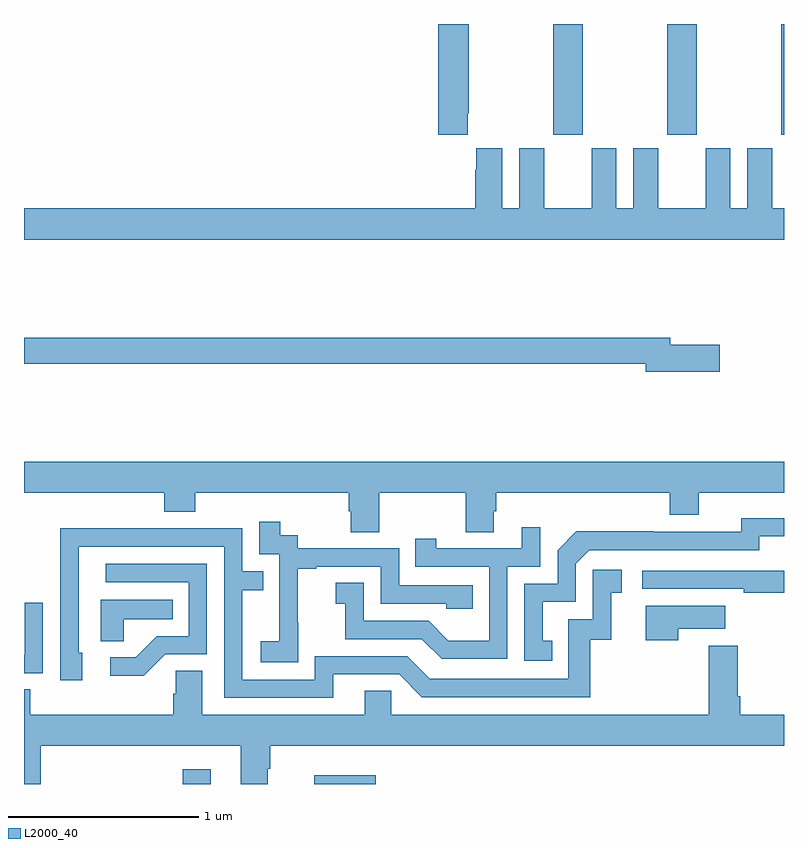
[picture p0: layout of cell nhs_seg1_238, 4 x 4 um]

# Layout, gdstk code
import gdstk
lib = gdstk.Library(unit=1e-6, precision=1e-09)
def R(c, l, rs):  # rectangles x0, y0, x1, y1
    for r in rs: c.add(gdstk.rectangle(r[:2], r[2:], *l))
def P(c, l, *ps):  # polygons
    for p in ps: c.add(gdstk.Polygon(p, *l))
L2000_40 = (2000, 40)

nhs_seg1_238 = lib.new_cell('nhs_seg1_238')
R(nhs_seg1_238, L2000_40, [(123.836,550.199,123.982,550.276), (124.527,550.199,124.852,550.246), (125.785,553.617,125.94,554.199), (126.385,553.617,126.54,554.199), (126.985,553.617,127,554.199)])
P(nhs_seg1_238, L2000_40, [(125.335,553.729),(125.34,553.729),(125.34,554.199),(125.18,554.199),(125.18,553.617),(125.335,553.617)],
  [(127,553.228),(126.937,553.228),(126.937,553.546),(126.806,553.546),(126.806,553.228),(126.718,553.228),(126.718,553.546),(126.587,553.546),(126.587,553.228),(126.337,553.228),(126.337,553.546),(126.206,553.546),(126.206,553.228),(126.118,553.228),(126.118,553.546),(125.987,553.546),(125.987,553.228),(125.737,553.228),(125.737,553.546),(125.606,553.546),(125.606,553.228),(125.518,553.228),(125.518,553.546),(125.381,553.546),(125.381,553.433),(125.375,553.433),(125.375,553.228),(123,553.228),(123,553.064),(127,553.064)],
  [(126.661,552.512),(126.4,552.512),(126.4,552.548),(123,552.548),(123,552.412),(126.272,552.412),(126.272,552.37),(126.661,552.37)],
  [(124.869,551.732),(125.326,551.732),(125.326,551.524),(125.473,551.524),(125.473,551.634),(125.486,551.634),(125.486,551.732),(126.398,551.732),(126.398,551.615),(126.55,551.615),(126.55,551.732),(127,551.732),(127,551.896),(123,551.896),(123,551.732),(123.737,551.732),(123.737,551.633),(123.902,551.633),(123.902,551.732),(124.709,551.732),(124.709,551.634),(124.721,551.634),(124.721,551.524),(124.869,551.524)],
  [(125.78,550.953),(125.731,550.953),(125.731,551.157),(125.904,551.157),(125.904,551.358),(125.976,551.43),(126.87,551.43),(126.87,551.502),(127,551.502),(127,551.599),(126.774,551.599),(126.774,551.526),(126.314,551.526),(126.314,551.528),(125.906,551.528),(125.808,551.43),(125.808,551.253),(125.634,551.253),(125.634,550.848),(125.78,550.848)],
  [(124.443,551.047),(124.442,551.047),(124.442,551.331),(124.537,551.331),(124.537,551.343),(124.878,551.343),(124.878,551.148),(125.223,551.148),(125.223,551.121),(125.363,551.121),(125.363,551.244),(124.974,551.244),(124.974,551.439),(124.44,551.439),(124.44,551.508),(124.348,551.508),(124.348,551.578),(124.239,551.578),(124.239,551.409),(124.344,551.409),(124.344,551.18),(124.343,551.18),(124.343,550.951),(124.245,550.951),(124.245,550.841),(124.443,550.841)],
  [(125.544,551.343),(125.718,551.343),(125.718,551.551),(125.621,551.551),(125.621,551.439),(125.17,551.439),(125.17,551.491),(125.059,551.491),(125.059,551.343),(125.448,551.343),(125.448,550.954),(125.234,550.954),(125.13,551.058),(124.788,551.058),(124.788,551.257),(124.641,551.257),(124.641,551.147),(124.69,551.147),(124.69,550.962),(125.093,550.962),(125.198,550.857),(125.544,550.857)],
  [(124.627,550.776),(124.974,550.776),(125.094,550.656),(125.981,550.656),(125.981,550.959),(126.092,550.959),(126.092,551.205),(126.145,551.205),(126.145,551.326),(125.994,551.326),(125.994,551.067),(125.865,551.067),(125.865,550.752),(125.136,550.752),(125.016,550.872),(124.53,550.872),(124.53,550.749),(124.149,550.749),(124.149,551.218),(124.259,551.218),(124.259,551.319),(124.149,551.319),(124.149,551.544),(123.653,551.544),(123.653,551.546),(123.19,551.546),(123.19,551.239),(123.192,551.239),(123.192,550.746),(123.307,550.746),(123.307,550.89),(123.288,550.89),(123.288,551.448),(124.053,551.448),(124.053,550.653),(124.627,550.653)],
  [(123.744,550.881),(123.963,550.881),(123.963,551.358),(123.429,551.358),(123.429,551.262),(123.867,551.262),(123.867,550.977),(123.698,550.977),(123.587,550.866),(123.453,550.866),(123.453,550.769),(123.631,550.769)],
  [(127,551.322),(126.255,551.322),(126.255,551.226),(126.787,551.226),(126.787,551.206),(127,551.206)],
  [(123.525,551.066),(123.782,551.066),(123.782,551.17),(123.404,551.17),(123.404,550.951),(123.525,550.951)],
  [(123.099,551.152),(123.003,551.152),(123.003,550.878),(123,550.878),(123,550.782),(123.099,550.782)],
  [(126.443,551.015),(126.691,551.015),(126.691,551.137),(126.272,551.137),(126.272,550.956),(126.443,550.956)],
  [(123.088,550.4),(124.142,550.4),(124.142,550.199),(124.282,550.199),(124.282,550.28),(124.295,550.28),(124.295,550.4),(127,550.4),(127,550.564),(126.77,550.564),(126.77,550.66),(126.757,550.66),(126.757,550.927),(126.605,550.927),(126.605,550.564),(124.932,550.564),(124.932,550.691),(124.793,550.691),(124.793,550.564),(123.937,550.564),(123.937,550.796),(123.798,550.796),(123.798,550.673),(123.785,550.673),(123.785,550.564),(123.032,550.564),(123.032,550.697),(123,550.697),(123,550.199),(123.088,550.199)])

lib.write_gds('nhs_seg1_238.gds')
